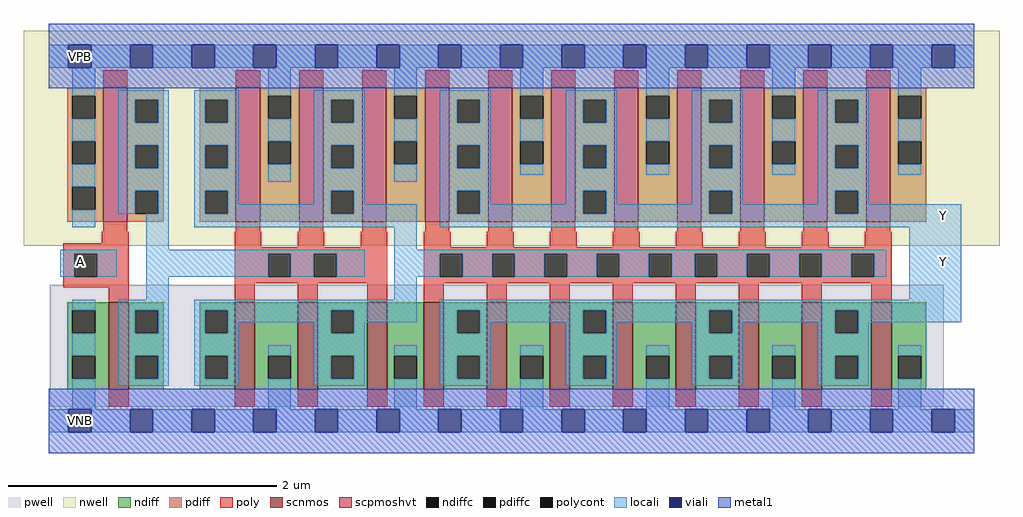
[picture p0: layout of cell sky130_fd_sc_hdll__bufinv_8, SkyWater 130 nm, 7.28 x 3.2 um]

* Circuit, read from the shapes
.subckt sky130_fd_sc_hdll__bufinv_8 A VGND VNB VPB VPWR Y
XM1 n1 A VGND VNB sky130_fd_pr__nfet_01v8 w=0.65 l=0.15
XM2 VGND n1 n2 VNB sky130_fd_pr__nfet_01v8 w=0.65 l=0.15 m=3
XM3 Y n2 VGND VNB sky130_fd_pr__nfet_01v8 w=0.65 l=0.15 m=8
XM4 n1 A VPWR VPB sky130_fd_pr__pfet_01v8_hvt w=1 l=0.18
XM5 VPWR n1 n2 VPB sky130_fd_pr__pfet_01v8_hvt w=1 l=0.18 m=3
XM6 Y n2 VPWR VPB sky130_fd_pr__pfet_01v8_hvt w=1 l=0.18 m=8
.ends

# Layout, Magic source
magic
tech sky130A
magscale 1 2
<< nwell >>
rect -38 261 1418 582
<< pwell >>
rect 1 21 1335 203
rect 30 -17 64 21
<< scnmos >>
rect 89 47 119 177
rect 277 47 307 177
rect 371 47 401 177
rect 475 47 505 177
rect 559 47 589 177
rect 653 47 683 177
rect 747 47 777 177
rect 841 47 871 177
rect 935 47 965 177
rect 1029 47 1059 177
rect 1123 47 1153 177
rect 1227 47 1257 177
<< scpmoshvt >>
rect 81 297 117 497
rect 279 297 315 497
rect 373 297 409 497
rect 467 297 503 497
rect 561 297 597 497
rect 655 297 691 497
rect 749 297 785 497
rect 843 297 879 497
rect 937 297 973 497
rect 1031 297 1067 497
rect 1125 297 1161 497
rect 1219 297 1255 497
<< ndiff >>
rect 27 165 89 177
rect 27 131 35 165
rect 69 131 89 165
rect 27 97 89 131
rect 27 63 35 97
rect 69 63 89 97
rect 27 47 89 63
rect 119 165 171 177
rect 119 131 129 165
rect 163 131 171 165
rect 119 97 171 131
rect 119 63 129 97
rect 163 63 171 97
rect 119 47 171 63
rect 225 165 277 177
rect 225 131 233 165
rect 267 131 277 165
rect 225 97 277 131
rect 225 63 233 97
rect 267 63 277 97
rect 225 47 277 63
rect 307 97 371 177
rect 307 63 327 97
rect 361 63 371 97
rect 307 47 371 63
rect 401 165 475 177
rect 401 131 421 165
rect 455 131 475 165
rect 401 97 475 131
rect 401 63 421 97
rect 455 63 475 97
rect 401 47 475 63
rect 505 97 559 177
rect 505 63 515 97
rect 549 63 559 97
rect 505 47 559 63
rect 589 165 653 177
rect 589 131 609 165
rect 643 131 653 165
rect 589 97 653 131
rect 589 63 609 97
rect 643 63 653 97
rect 589 47 653 63
rect 683 97 747 177
rect 683 63 703 97
rect 737 63 747 97
rect 683 47 747 63
rect 777 165 841 177
rect 777 131 797 165
rect 831 131 841 165
rect 777 97 841 131
rect 777 63 797 97
rect 831 63 841 97
rect 777 47 841 63
rect 871 97 935 177
rect 871 63 891 97
rect 925 63 935 97
rect 871 47 935 63
rect 965 165 1029 177
rect 965 131 985 165
rect 1019 131 1029 165
rect 965 97 1029 131
rect 965 63 985 97
rect 1019 63 1029 97
rect 965 47 1029 63
rect 1059 97 1123 177
rect 1059 63 1079 97
rect 1113 63 1123 97
rect 1059 47 1123 63
rect 1153 165 1227 177
rect 1153 131 1173 165
rect 1207 131 1227 165
rect 1153 97 1227 131
rect 1153 63 1173 97
rect 1207 63 1227 97
rect 1153 47 1227 63
rect 1257 97 1309 177
rect 1257 63 1267 97
rect 1301 63 1309 97
rect 1257 47 1309 63
<< pdiff >>
rect 27 485 81 497
rect 27 451 35 485
rect 69 451 81 485
rect 27 417 81 451
rect 27 383 35 417
rect 69 383 81 417
rect 27 349 81 383
rect 27 315 35 349
rect 69 315 81 349
rect 27 297 81 315
rect 117 479 171 497
rect 117 445 129 479
rect 163 445 171 479
rect 117 411 171 445
rect 117 377 129 411
rect 163 377 171 411
rect 117 343 171 377
rect 117 309 129 343
rect 163 309 171 343
rect 117 297 171 309
rect 225 479 279 497
rect 225 445 233 479
rect 267 445 279 479
rect 225 411 279 445
rect 225 377 233 411
rect 267 377 279 411
rect 225 343 279 377
rect 225 309 233 343
rect 267 309 279 343
rect 225 297 279 309
rect 315 485 373 497
rect 315 451 327 485
rect 361 451 373 485
rect 315 417 373 451
rect 315 383 327 417
rect 361 383 373 417
rect 315 297 373 383
rect 409 479 467 497
rect 409 445 421 479
rect 455 445 467 479
rect 409 411 467 445
rect 409 377 421 411
rect 455 377 467 411
rect 409 343 467 377
rect 409 309 421 343
rect 455 309 467 343
rect 409 297 467 309
rect 503 485 561 497
rect 503 451 515 485
rect 549 451 561 485
rect 503 417 561 451
rect 503 383 515 417
rect 549 383 561 417
rect 503 297 561 383
rect 597 479 655 497
rect 597 445 609 479
rect 643 445 655 479
rect 597 411 655 445
rect 597 377 609 411
rect 643 377 655 411
rect 597 343 655 377
rect 597 309 609 343
rect 643 309 655 343
rect 597 297 655 309
rect 691 485 749 497
rect 691 451 703 485
rect 737 451 749 485
rect 691 417 749 451
rect 691 383 703 417
rect 737 383 749 417
rect 691 297 749 383
rect 785 479 843 497
rect 785 445 797 479
rect 831 445 843 479
rect 785 411 843 445
rect 785 377 797 411
rect 831 377 843 411
rect 785 343 843 377
rect 785 309 797 343
rect 831 309 843 343
rect 785 297 843 309
rect 879 485 937 497
rect 879 451 891 485
rect 925 451 937 485
rect 879 417 937 451
rect 879 383 891 417
rect 925 383 937 417
rect 879 297 937 383
rect 973 479 1031 497
rect 973 445 985 479
rect 1019 445 1031 479
rect 973 411 1031 445
rect 973 377 985 411
rect 1019 377 1031 411
rect 973 343 1031 377
rect 973 309 985 343
rect 1019 309 1031 343
rect 973 297 1031 309
rect 1067 485 1125 497
rect 1067 451 1079 485
rect 1113 451 1125 485
rect 1067 417 1125 451
rect 1067 383 1079 417
rect 1113 383 1125 417
rect 1067 297 1125 383
rect 1161 479 1219 497
rect 1161 445 1173 479
rect 1207 445 1219 479
rect 1161 411 1219 445
rect 1161 377 1173 411
rect 1207 377 1219 411
rect 1161 343 1219 377
rect 1161 309 1173 343
rect 1207 309 1219 343
rect 1161 297 1219 309
rect 1255 485 1309 497
rect 1255 451 1267 485
rect 1301 451 1309 485
rect 1255 417 1309 451
rect 1255 383 1267 417
rect 1301 383 1309 417
rect 1255 297 1309 383
<< ndiffc >>
rect 35 131 69 165
rect 35 63 69 97
rect 129 131 163 165
rect 129 63 163 97
rect 233 131 267 165
rect 233 63 267 97
rect 327 63 361 97
rect 421 131 455 165
rect 421 63 455 97
rect 515 63 549 97
rect 609 131 643 165
rect 609 63 643 97
rect 703 63 737 97
rect 797 131 831 165
rect 797 63 831 97
rect 891 63 925 97
rect 985 131 1019 165
rect 985 63 1019 97
rect 1079 63 1113 97
rect 1173 131 1207 165
rect 1173 63 1207 97
rect 1267 63 1301 97
<< pdiffc >>
rect 35 451 69 485
rect 35 383 69 417
rect 35 315 69 349
rect 129 445 163 479
rect 129 377 163 411
rect 129 309 163 343
rect 233 445 267 479
rect 233 377 267 411
rect 233 309 267 343
rect 327 451 361 485
rect 327 383 361 417
rect 421 445 455 479
rect 421 377 455 411
rect 421 309 455 343
rect 515 451 549 485
rect 515 383 549 417
rect 609 445 643 479
rect 609 377 643 411
rect 609 309 643 343
rect 703 451 737 485
rect 703 383 737 417
rect 797 445 831 479
rect 797 377 831 411
rect 797 309 831 343
rect 891 451 925 485
rect 891 383 925 417
rect 985 445 1019 479
rect 985 377 1019 411
rect 985 309 1019 343
rect 1079 451 1113 485
rect 1079 383 1113 417
rect 1173 445 1207 479
rect 1173 377 1207 411
rect 1173 309 1207 343
rect 1267 451 1301 485
rect 1267 383 1301 417
<< poly >>
rect 81 497 117 523
rect 279 497 315 523
rect 373 497 409 523
rect 467 497 503 523
rect 561 497 597 523
rect 655 497 691 523
rect 749 497 785 523
rect 843 497 879 523
rect 937 497 973 523
rect 1031 497 1067 523
rect 1125 497 1161 523
rect 1219 497 1255 523
rect 81 282 117 297
rect 279 282 315 297
rect 373 282 409 297
rect 467 282 503 297
rect 561 282 597 297
rect 655 282 691 297
rect 749 282 785 297
rect 843 282 879 297
rect 937 282 973 297
rect 1031 282 1067 297
rect 1125 282 1161 297
rect 1219 282 1255 297
rect 79 265 119 282
rect 21 249 119 265
rect 21 215 38 249
rect 72 215 119 249
rect 21 199 119 215
rect 89 177 119 199
rect 277 259 317 282
rect 371 259 411 282
rect 465 259 505 282
rect 277 249 505 259
rect 277 215 327 249
rect 361 215 395 249
rect 429 215 505 249
rect 277 205 505 215
rect 277 177 307 205
rect 371 177 401 205
rect 475 177 505 205
rect 559 259 599 282
rect 653 259 693 282
rect 747 259 787 282
rect 841 259 881 282
rect 935 259 975 282
rect 1029 259 1069 282
rect 1123 259 1163 282
rect 1217 259 1257 282
rect 559 249 1257 259
rect 559 215 583 249
rect 617 215 661 249
rect 695 215 739 249
rect 773 215 817 249
rect 851 215 895 249
rect 929 215 963 249
rect 997 215 1041 249
rect 1075 215 1119 249
rect 1153 215 1197 249
rect 1231 215 1257 249
rect 559 205 1257 215
rect 559 177 589 205
rect 653 177 683 205
rect 747 177 777 205
rect 841 177 871 205
rect 935 177 965 205
rect 1029 177 1059 205
rect 1123 177 1153 205
rect 1227 177 1257 205
rect 89 21 119 47
rect 277 21 307 47
rect 371 21 401 47
rect 475 21 505 47
rect 559 21 589 47
rect 653 21 683 47
rect 747 21 777 47
rect 841 21 871 47
rect 935 21 965 47
rect 1029 21 1059 47
rect 1123 21 1153 47
rect 1227 21 1257 47
<< polycont >>
rect 38 215 72 249
rect 327 215 361 249
rect 395 215 429 249
rect 583 215 617 249
rect 661 215 695 249
rect 739 215 773 249
rect 817 215 851 249
rect 895 215 929 249
rect 963 215 997 249
rect 1041 215 1075 249
rect 1119 215 1153 249
rect 1197 215 1231 249
<< locali >>
rect 0 527 29 561
rect 63 527 121 561
rect 155 527 213 561
rect 247 527 305 561
rect 339 527 397 561
rect 431 527 489 561
rect 523 527 581 561
rect 615 527 673 561
rect 707 527 765 561
rect 799 527 857 561
rect 891 527 949 561
rect 983 527 1041 561
rect 1075 527 1133 561
rect 1167 527 1225 561
rect 1259 527 1317 561
rect 1351 527 1380 561
rect 35 485 69 527
rect 35 417 69 451
rect 35 349 69 383
rect 35 289 69 315
rect 103 479 179 493
rect 103 445 129 479
rect 163 445 179 479
rect 103 411 179 445
rect 103 377 129 411
rect 163 377 179 411
rect 103 343 179 377
rect 103 309 129 343
rect 163 309 179 343
rect 145 255 179 309
rect 217 479 283 493
rect 217 445 233 479
rect 267 445 283 479
rect 217 411 283 445
rect 217 377 233 411
rect 267 377 283 411
rect 217 343 283 377
rect 327 485 361 527
rect 327 417 361 451
rect 327 357 361 383
rect 395 479 471 493
rect 395 445 421 479
rect 455 445 471 479
rect 395 411 471 445
rect 395 377 421 411
rect 455 377 471 411
rect 217 309 233 343
rect 267 323 283 343
rect 395 343 471 377
rect 515 485 549 527
rect 515 417 549 451
rect 515 357 549 383
rect 583 479 659 493
rect 583 445 609 479
rect 643 445 659 479
rect 583 411 659 445
rect 583 377 609 411
rect 643 377 659 411
rect 395 323 421 343
rect 267 309 421 323
rect 455 323 471 343
rect 583 343 659 377
rect 703 485 737 527
rect 703 417 737 451
rect 703 367 737 383
rect 771 479 847 493
rect 771 445 797 479
rect 831 445 847 479
rect 771 411 847 445
rect 771 377 797 411
rect 831 377 847 411
rect 455 309 549 323
rect 217 289 549 309
rect 583 309 609 343
rect 643 323 659 343
rect 771 343 847 377
rect 891 485 925 527
rect 891 417 925 451
rect 891 367 925 383
rect 959 479 1035 493
rect 959 445 985 479
rect 1019 445 1035 479
rect 959 411 1035 445
rect 959 377 985 411
rect 1019 377 1035 411
rect 771 323 797 343
rect 643 309 797 323
rect 831 323 847 343
rect 959 343 1035 377
rect 1079 485 1113 527
rect 1079 417 1113 451
rect 1079 367 1113 383
rect 1147 479 1223 493
rect 1147 445 1173 479
rect 1207 445 1223 479
rect 1147 411 1223 445
rect 1147 377 1173 411
rect 1207 377 1223 411
rect 959 323 985 343
rect 831 309 985 323
rect 1019 323 1035 343
rect 1147 343 1223 377
rect 1267 485 1301 527
rect 1267 417 1301 451
rect 1267 367 1301 383
rect 1147 323 1173 343
rect 1019 309 1173 323
rect 1207 323 1223 343
rect 1207 309 1361 323
rect 583 289 1361 309
rect 515 255 549 289
rect 17 249 101 255
rect 17 215 38 249
rect 72 215 101 249
rect 145 249 471 255
rect 145 215 327 249
rect 361 215 395 249
rect 429 215 471 249
rect 515 249 1249 255
rect 515 215 583 249
rect 617 215 661 249
rect 695 215 739 249
rect 773 215 817 249
rect 851 215 895 249
rect 929 215 963 249
rect 997 215 1041 249
rect 1075 215 1119 249
rect 1153 215 1197 249
rect 1231 215 1249 249
rect 145 181 179 215
rect 515 181 549 215
rect 1283 181 1361 289
rect 35 165 69 181
rect 35 97 69 131
rect 35 17 69 63
rect 103 165 179 181
rect 103 131 129 165
rect 163 131 179 165
rect 103 97 179 131
rect 103 63 129 97
rect 163 63 179 97
rect 103 52 179 63
rect 217 165 549 181
rect 217 131 233 165
rect 267 147 421 165
rect 267 131 283 147
rect 217 97 283 131
rect 395 131 421 147
rect 455 147 549 165
rect 583 165 1361 181
rect 455 131 471 147
rect 217 63 233 97
rect 267 63 283 97
rect 217 52 283 63
rect 327 97 361 113
rect 327 17 361 63
rect 395 97 471 131
rect 583 131 609 165
rect 643 147 797 165
rect 643 131 659 147
rect 395 63 421 97
rect 455 63 471 97
rect 395 52 471 63
rect 515 97 549 113
rect 515 17 549 63
rect 583 97 659 131
rect 771 131 797 147
rect 831 147 985 165
rect 831 131 847 147
rect 583 63 609 97
rect 643 63 659 97
rect 583 52 659 63
rect 703 97 737 113
rect 703 17 737 63
rect 771 97 847 131
rect 959 131 985 147
rect 1019 147 1173 165
rect 1019 131 1035 147
rect 771 63 797 97
rect 831 63 847 97
rect 771 52 847 63
rect 891 97 925 113
rect 891 17 925 63
rect 959 97 1035 131
rect 1147 131 1173 147
rect 1207 147 1361 165
rect 1207 131 1223 147
rect 959 63 985 97
rect 1019 63 1035 97
rect 959 52 1035 63
rect 1079 97 1113 113
rect 1079 17 1113 63
rect 1147 97 1223 131
rect 1147 63 1173 97
rect 1207 63 1223 97
rect 1147 52 1223 63
rect 1267 97 1301 113
rect 1267 17 1301 63
rect 0 -17 29 17
rect 63 -17 121 17
rect 155 -17 213 17
rect 247 -17 305 17
rect 339 -17 397 17
rect 431 -17 489 17
rect 523 -17 581 17
rect 615 -17 673 17
rect 707 -17 765 17
rect 799 -17 857 17
rect 891 -17 949 17
rect 983 -17 1041 17
rect 1075 -17 1133 17
rect 1167 -17 1225 17
rect 1259 -17 1317 17
rect 1351 -17 1380 17
<< viali >>
rect 29 527 63 561
rect 121 527 155 561
rect 213 527 247 561
rect 305 527 339 561
rect 397 527 431 561
rect 489 527 523 561
rect 581 527 615 561
rect 673 527 707 561
rect 765 527 799 561
rect 857 527 891 561
rect 949 527 983 561
rect 1041 527 1075 561
rect 1133 527 1167 561
rect 1225 527 1259 561
rect 1317 527 1351 561
rect 29 -17 63 17
rect 121 -17 155 17
rect 213 -17 247 17
rect 305 -17 339 17
rect 397 -17 431 17
rect 489 -17 523 17
rect 581 -17 615 17
rect 673 -17 707 17
rect 765 -17 799 17
rect 857 -17 891 17
rect 949 -17 983 17
rect 1041 -17 1075 17
rect 1133 -17 1167 17
rect 1225 -17 1259 17
rect 1317 -17 1351 17
<< metal1 >>
rect 0 561 1380 592
rect 0 527 29 561
rect 63 527 121 561
rect 155 527 213 561
rect 247 527 305 561
rect 339 527 397 561
rect 431 527 489 561
rect 523 527 581 561
rect 615 527 673 561
rect 707 527 765 561
rect 799 527 857 561
rect 891 527 949 561
rect 983 527 1041 561
rect 1075 527 1133 561
rect 1167 527 1225 561
rect 1259 527 1317 561
rect 1351 527 1380 561
rect 0 496 1380 527
rect 0 17 1380 48
rect 0 -17 29 17
rect 63 -17 121 17
rect 155 -17 213 17
rect 247 -17 305 17
rect 339 -17 397 17
rect 431 -17 489 17
rect 523 -17 581 17
rect 615 -17 673 17
rect 707 -17 765 17
rect 799 -17 857 17
rect 891 -17 949 17
rect 983 -17 1041 17
rect 1075 -17 1133 17
rect 1167 -17 1225 17
rect 1259 -17 1317 17
rect 1351 -17 1380 17
rect 0 -48 1380 -17
<< labels >>
flabel locali s 30 221 64 255 0 FreeSans 200 0 0 0 A
port 1 nsew signal input
flabel locali s 1317 221 1351 255 0 FreeSans 200 0 0 0 Y
port 6 nsew signal output
flabel locali s 1317 289 1351 323 0 FreeSans 200 0 0 0 Y
port 6 nsew signal output
flabel pwell s 30 -17 64 17 0 FreeSans 200 0 0 0 VNB
port 3 nsew ground bidirectional
flabel nwell s 30 527 64 561 0 FreeSans 200 0 0 0 VPB
port 4 nsew power bidirectional
flabel metal1 s 30 -17 64 17 0 FreeSans 200 0 0 0 VGND
port 2 nsew ground bidirectional
flabel metal1 s 30 527 64 561 0 FreeSans 200 0 0 0 VPWR
port 5 nsew power bidirectional
rlabel comment s 0 0 0 0 4 bufinv_8
<< properties >>
string LEFsite unithd
string LEFclass CORE
string FIXED_BBOX 0 0 1380 544
string GDS_FILE $PDKPATH/libs.ref/sky130_fd_sc_hdll/gds/sky130_fd_sc_hdll.gds
string LEFsymmetry X Y R90
string GDS_END 1414604
string GDS_START 1403908
string LEFproperties maskLayoutSubType "abstract" prCellType "standard" originalViewName "layout"
<< end >>
